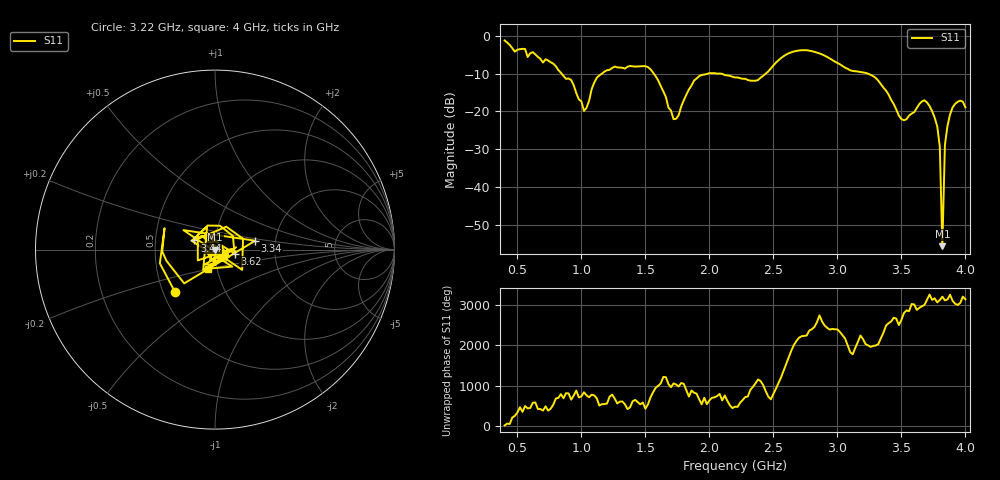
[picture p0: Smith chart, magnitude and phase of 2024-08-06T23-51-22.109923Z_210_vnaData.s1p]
!Created with skrf (http://scikit-rf.org).
# Hz S RI R 50.0
!freq ReS11 ImS11
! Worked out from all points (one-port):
!   181 points, 400 MHz to 4 GHz, reference 50 ohm
!   lowest |S11| = -55.6 dB at 3.82 GHz (marker M1), VSWR 1.00, Z = 50.1 - j0.117 ohm
!   |S11| at or under -10 dB: 1.566 GHz to 1.986 GHz (420 MHz wide, 23.6 % of centre); 2.093 GHz to 2.439 GHz (346.8 MHz wide, 15.3 % of centre); 3.241 GHz to end of sweep (the widest 3 of 4)
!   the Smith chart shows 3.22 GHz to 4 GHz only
!   S11 on the Smith chart (normalised r, x): 3.22 GHz: 0.58, -0.30; 3.34 GHz: 1.57, +0.16; 3.44 GHz: 0.79, +0.08; 3.62 GHz: 1.24, -0.06; 4 GHz: 0.90, -0.19
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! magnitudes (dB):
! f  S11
! 400 MHz  -1.2
! 860 MHz  -10.6
! 920 MHz  -11.7
! 1.02 GHz  -19.8
! 1.12 GHz  -11.1
! 1.3 GHz  -8.4
! 1.52 GHz  -8.3
! 1.72 GHz  -22.0
! 1.76 GHz  -21.0
! 1.92 GHz  -10.6
! 2.2 GHz  -11.0
! 2.38 GHz  -11.7
! 2.66 GHz  -4.1
! 3.1 GHz  -9.1
! 3.22 GHz  -9.8
! 3.34 GHz  -12.8
! 3.44 GHz  -18.0
! 3.5 GHz  -22.0
! 3.56 GHz  -21.1
! 3.62 GHz  -19.1
! 3.7 GHz  -17.6
! 3.78 GHz  -23.9
! 3.8 GHz  -29.3
! 3.82 GHz  -55.6
! 3.84 GHz  -28.9
! 3.86 GHz  -23.8
! 3.92 GHz  -18.0
! 4 GHz  -18.9
